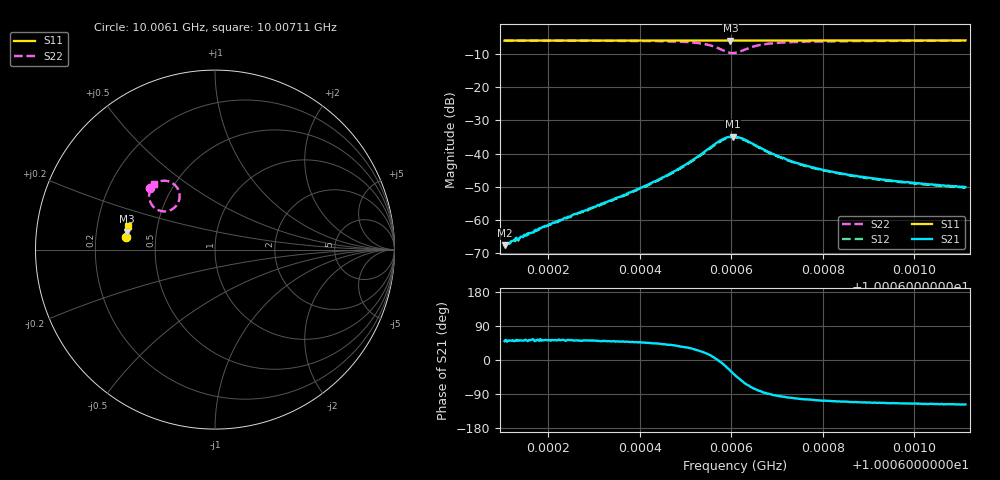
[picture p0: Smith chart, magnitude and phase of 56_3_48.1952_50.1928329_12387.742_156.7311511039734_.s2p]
#  HZ  S  RI  R  50.00
! Rohde & Schwarz Vector Network Analyzer
! Rohde-Schwarz,ZNB20-2Port,1311601062101988,3.16
! Created: UTC 3/20/2024, 11:38:35 AM
! freq[Hz]  re:S11  im:S11  re:S21  im:S21  re:S12  im:S12  re:S22  im:S22
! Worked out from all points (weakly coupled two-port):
!   401 points, 10.0061 GHz to 10.00711 GHz, reference 50 ohm
!   highest |S21| = -34.84 dB at 10.0066 GHz (marker M1); lowest = -67.6 dB at 10.0061 GHz (marker M2)
!   lowest |S11| = -6.0 dB at 10.0066 GHz (marker M3), VSWR 3.01, Z = 16.8 + j4.51 ohm
!   |S11| at or under -10 dB: nowhere
!   |S22| runs from -9.8 to -6.0 dB; largest |S21 - S12| = 0.0012
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1.0006104e10  -0.4969 0.0692  0.000271 0.00032  0.000215 0.000346  -0.3607 0.3447
1.0006124e10  -0.4968 0.0705  0.000316 0.000372  0.000267 0.000381  -0.3593 0.3463
1.0006129e10  -0.4968 0.0707  0.000328 0.000436  0.000292 0.000423  -0.3592 0.3467
1.0006154e10  -0.4965 0.0724  0.000386 0.000458  0.000339 0.000535  -0.3572 0.3486
1.0006175e10  -0.4965 0.0736  0.00042 0.000556  0.000388 0.000578  -0.3556 0.3502
1.0006192e10  -0.4963 0.075  0.000492 0.000654  0.000473 0.000669  -0.3542 0.3514
1.0006273e10  -0.4957 0.0801  0.000863 0.00104  0.000792 0.00109  -0.3465 0.3586
1.0006369e10  -0.4946 0.0863  0.00162 0.00181  0.00152 0.00186  -0.3329 0.3686
1.0006442e10  -0.4938 0.0912  0.00301 0.00281  0.00281 0.00286  -0.3146 0.3782
1.0006497e10  -0.493 0.095  0.00552 0.00371  0.00521 0.00387  -0.2865 0.3838
1.0006543e10  -0.492 0.0979  0.0103 0.0035  0.00981 0.00385  -0.2402 0.3726
1.0006578e10  -0.4911 0.0999  0.016 -0.00181  0.0154 -0.00107  -0.198 0.3114
1.0006598e10  -0.4905 0.1006  0.0158 -0.0086  0.0159 -0.00755  -0.2123 0.2495
1.0006603e10  -0.4907 0.1006  0.0149 -0.0103  0.0151 -0.0092  -0.2235 0.2363
1.0006608e10  -0.4907 0.1006  0.0138 -0.0116  0.0142 -0.0105  -0.2369 0.2258
1.0006628e10  -0.4909 0.1016  0.00821 -0.0142  0.0087 -0.0135  -0.2958 0.214
1.0006663e10  -0.4912 0.1038  0.00173 -0.0122  0.0022 -0.0118  -0.352 0.2496
1.0006719e10  -0.491 0.1078  -0.00115 -0.00819  -0.000714 -0.00804  -0.3672 0.2959
1.0006777e10  -0.4904 0.1116  -0.00163 -0.00602  -0.00131 -0.00597  -0.3645 0.3203
1.0006855e10  -0.4894 0.1167  -0.00165 -0.00453  -0.00144 -0.00455  -0.358 0.3382
1.0006946e10  -0.4881 0.1224  -0.00161 -0.00365  -0.0014 -0.00362  -0.3509 0.3507
1.0007112e10  -0.4859 0.1331  -0.00144 -0.0028  -0.00129 -0.00279  -0.3398 0.3655
